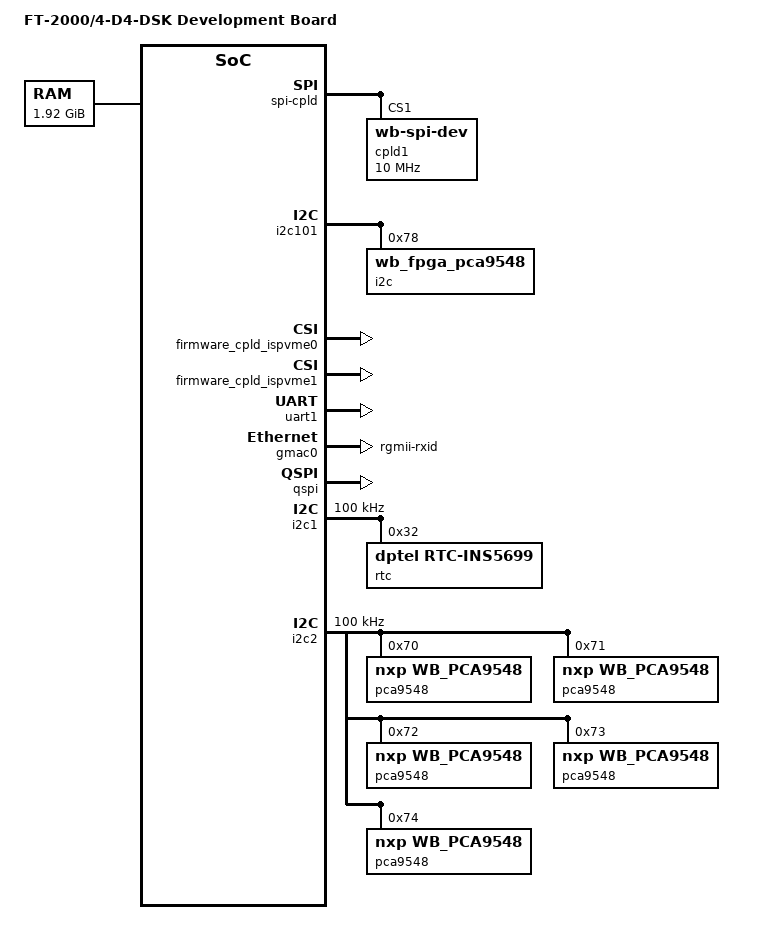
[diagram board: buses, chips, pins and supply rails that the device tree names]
// SPDX-License-Identifier: GPL-2.0
/*
 * DTS file for phytium FT-2000/4 devboard (FT-2000/4-D4-DSK series)
 *
 * Copyright (C) 2018-2019, Phytium Technology Co., Ltd.
 */

/dts-v1/;
/memreserve/ 0x80000000 0x10000;

#include <ft2004v2-generic-psci-soc.dtsi>

/{
    model = "FT-2000/4-D4-DSK Development Board";
    compatible = "phytium,ft2004c";
    #address-cells = <2>;
    #size-cells = <2>;

    chosen {
        stdout-path = "uart1:115200n8";
    };

    memory@00{
        device_type = "memory";
        reg = <0x0 0x80000000 0x0 0x7b000000>;
    };

    soc {
        /* CPU板上的CPLD，通过LPC总线进行访问 */
        cpld0 {
            io_dev_name = "cpld0";
            compatible = "wb-io-dev";
            io_type = /bits/ 8 <0x1>;       /* 0:ioport, 1:iomen */
            io_base = <0x20000000>;
            io_len  = <0x0100>;
        };

        /* CPU板上的CPLD模拟的SPI控制器 */
        spi-cpld {
            compatible = "spi-cpld";
            reg = <0x0 0x20000000 0x0 0x100000>;
            #address-cells = <1>;
            #size-cells = <0>;

            /* CPLD模拟的SPI控制器下挂了3个CPLD，分别为主CPLD、从CPLD、风扇板CPLD，3个CPLD只使用了一个片选，
             * CPLD通过地址来进行区分。作为SPI设备，其在SPI master注册时会被创建出来 */
            cpld1:cpld1 {
                compatible = "wb-spi-dev";
                reg = <0x1>;                         /* 指定spi设备使用的片选信号。即spi->chip_select */
                spi-max-frequency = <10000000>;      /* 指定spi设备工作的最大频率。即spi->max_speed_hz */

                spi_dev_name      = "cpld1";         /* 生成的misc设备的名称 */
                data_bus_width    = <1>;             /* spi设备的数据位宽，单位B */
                addr_bus_width    = <2>;             /* spi设备的地址位宽，单位B。该设备采用cmd(1B) + addr(2B) + data(1-8B)的数据格式 */
                per_rd_len        = <1>;             /* 一次SPI数据传输，最大读取的数据长度。目前是由于spi控制器数据buf最大为8B，但cpld按1B读写，故这里只能配1 */
                per_wr_len        = <1>;             /* 一次SPI数据传输，最大写入的数据长度。目前是由于spi控制器数据buf最大为8B，但cpld按1B读写，故这里只能配1 */
                spi_len           = <0x10000>;
            };
        };

        /* 底板主CPLD上模拟I2C控制器, 映射RAM读写通道  该控制器内部9548下挂1个二级实体PCA9548 0x78 */
        cpld10 {
            compatible = "wb-indirect-dev";
            /* 1: i2c, 2: file, 3:pcie, 4:io, 5:spi, 8:atomic */
            logic_func_mode     = <5>;
            dev_name            = "cpld10";         /* created dev name */
            logic_dev_name      = "/dev/cpld1";     /* dependent dev name */
            data_bus_width      = <4>;              /* dev data_bus_width */
            addr_bus_width      = <1>;              /* dev addr_bus_width */
            wr_data             = <0x2080>;         /* dependent dev wr date reg */
            wr_data_width       = <4>;              /* dependent dev wr_data_width */
            addr_low            = <0x2084>;         /* dependent dev w/r addr reg low */
            addr_high           = <0x2085>;         /* dependent dev w/r addr reg high */
            rd_data             = <0x2086>;         /* dependent dev rd date reg */
            rd_data_width       = <4>;              /* dependent dev rd_data_width */
            opt_ctl             = <0x208a>;
            indirect_len        = <0x200>;
            lock_mode           = <2>;
        };

        i2c101: second-cpld-i2c0 {
            #address-cells = <1>;
            #size-cells = <0>;
            compatible = "wb-fpga-i2c";
            i2c_timeout             = <3000>;
            i2c_scale               = <0x00>;
            i2c_filter              = <0x04>;
            i2c_stretch             = <0x08>;
            i2c_slave               = <0x1c>;
            i2c_reg                 = <0x20>;
            i2c_reg_len             = <0x30>;
            i2c_data_len            = <0x34>;
            i2c_ctrl                = <0x38>;
            i2c_status              = <0x3c>;
            i2c_data_buf            = <0x100>;
            i2c_data_buf_len        = <256>;
            dev_name                = "/dev/cpld10";
            i2c_scale_value         = <0x4e>;
            i2c_filter_value        = <0x7c>;
            i2c_stretch_value       = <0x7c>;
            i2c_func_mode           = <2>;          /* 1:i2c, 2:file 3:spi */
            i2c_adap_reset_flag     = <1>;          /* 1:复位, 0:不复位 */
            i2c_reset_addr          = <0x7c>;
            i2c_reset_on            = <0x00000001>;
            i2c_reset_off           = <0x00000000>;
            i2c_reset_mask          = <0x00000001>;
            i2c_rst_delay_b         = <0>;          /* delay time before reset(us) */
            i2c_rst_delay           = <1>;          /* reset time(us) */
            i2c_rst_delay_a         = <1>;          /* delay time after reset(us) */
            i2c_ext_9548_exits_flag = <0x0c>;
            i2c_ext_9548_addr       = <0x10>;
            i2c_ext_9548_chan       = <0x14>;
            i2c_in_9548_chan        = <0x18>;

            /* 控制器内部9548 BUS 66-73, 风扇板1-4的EEPROM */
            i2c@78 {
                #address-cells = <1>;
                #size-cells = <0>;
                compatible = "wb_fpga_pca9548";
                reg = <0x78>;
                pca9548_base_nr          = <66>;
                fpga_9548_flag           = <1>;  /* 1:内部9548, 2:外部9548 */
                fpga_9548_reset_flag     = <0>;  /* 1:复位, 0:不复位*/
            };
        };

        /* 用于固件升级前，初始化GPIO的到一个默认的状态，以防止GPIO模拟的JTAG信号抖动，出现不可预知的问题 */
        gpio_init {
            compatible  = "gpio_init";
            gpioport@0 {                            /* 该设备节点包含的gpio信息，具体表示方式如下 */
                gpio            = <491>;             /* GPIO的编号 */
                init_direction  = <0>;              /* GPIO的配置方向。0：输出；1：输入 */
                init_level      = <1>;	            /* GPIO的输出电平。0：输出低电平；1：输出高电平 */
            };
            gpioport@1 {                            /* 该设备节点包含的gpio信息，具体表示方式如下 */
                gpio            = <494>;                     /* GPIO的编号 */
                init_direction  = <0>;              /* GPIO的配置方向。0：输出；1：输入 */
                init_level      = <0>;              /* GPIO的输出电平。0：输出低电平；1：输出高电平 */
            };
            gpioport@2 {                            /* 该设备节点包含的gpio信息，具体表示方式如下 */
                gpio            = <493>;              /* GPIO的编号 */
                init_direction  = <0>;              /* GPIO的配置方向。0：输出；1：输入 */
                init_level      = <1>;              /* GPIO的输出电平。0：输出低电平；1：输出高电平 */
            };
            gpioport@3 {                            /* 该设备节点包含的gpio信息，具体表示方式如下 */
                gpio            = <492>;             /* GPIO的编号 */
                init_direction  = <1>;              /* GPIO的配置方向。0：输出；1：输入 */
                init_level      = <0>;              /* GPIO的输出电平。0：输出低电平；1：输出高电平 */
            };
            gpioport@4 {                            /* 该设备节点包含的gpio信息，具体表示方式如下 */
                gpio            = <490>;             /* GPIO的编号 */
                init_direction  = <0>;              /* GPIO的配置方向。0：输出；1：输入 */
                init_level      = <0>;              /* GPIO的输出电平。0：输出低电平；1：输出高电平 */
            };
            gpioport@5 {                            /* 该设备节点包含的gpio信息，具体表示方式如下 */
                gpio            = <489>;             /* GPIO的编号 */
                init_direction  = <0>;              /* GPIO的配置方向。0：输出；1：输入 */
                init_level      = <1>;              /* GPIO的输出电平。0：输出低电平；1：输出高电平 */
            };
        };

        /* 用于固件升级CPU板上的CPLD */
        firmware_cpld_ispvme0 {
            compatible  = "firmware_cpld_ispvme";
            type        = "JTAG";
            tdi         = <491>;
            tck         = <494>;
            tms         = <493>;
            tdo         = <492>;
            chain       = <1>;
            chip_index  = <1>;
            en_gpio_0   = <490>;     /* ONLINE_JTAG_EN  GPIO1_B2  使能在线升级，需要配置为低电平0 */
            en_level_0  = <0>;      /* 默认配置为0，为0可不配 */
            en_gpio_1   = <489>;     /* JTAG_SEL_1  GPIO1_B1  选择升级哪条链路的CPLD：低电平0 -- 选择升级CPU板的CPLD, 高电平1 -- 选择升级底板的CPLD */
            en_level_1  = <0>;      /* 默认配置为0，为0可不配 */

            /* JTAG_EN enable/disable */
            en_logic_dev_0     = "/dev/cpld0";   /* 通过什么设备文件，来配置链路使能 */
            en_logic_addr_0    = <0xe8>;         /* 链路使能的寄存器地址 */
            en_logic_mask_0    = <0xfe>;         /* 寄存器值的掩码 */
            en_logic_en_val_0  = <0x01>;         /* 链路使能时，寄存器的配置值 */
            en_logic_dis_val_0 = <0x00>;         /* 链路失能时，寄存器的配置值 */
            en_logic_width_0   = <0x01>;         /* 逻辑设备的位宽： 1 --- 8bit、2 --- 16bit、4 --- 32bit */
        };

        /* 用于固件升级底板上的主从CPLD，即基地址分别为0x2000、0x4000的CPLD */
        firmware_cpld_ispvme1 {
            compatible  = "firmware_cpld_ispvme";
            type        = "JTAG";
            tdi         = <491>;
            tck         = <494>;
            tms         = <493>;
            tdo         = <492>;
            chain       = <2>;
            chip_index  = <1>;
            en_gpio_0   = <490>;
            en_level_0  = <0>;
            en_gpio_1   = <489>;
            en_level_1  = <1>;

            /* JTAG_EN enable/disable */
            en_logic_dev_0     = "/dev/cpld0";   /* 通过什么设备文件，来配置链路使能 */
            en_logic_addr_0    = <0xe8>;         /* 链路使能的寄存器地址 */
            en_logic_mask_0    = <0xfe>;         /* 寄存器值的掩码 */
            en_logic_en_val_0  = <0x01>;         /* 链路使能时，寄存器的配置值 */
            en_logic_dis_val_0 = <0x00>;         /* 链路失能时，寄存器的配置值 */
            en_logic_width_0   = <0x01>;         /* 逻辑设备的位宽： 1 --- 8bit、2 --- 16bit、4 --- 32bit */
        };

        /* 用于升级U-BOOT */
        firmware_sysfs0 {
            compatible  = "firmware_sysfs";
            type        = "MTD_DEV";
            chain       = <1>;
            chip_index  = <1>;
            mtd_name    = "mtd0";  /* mtd设备的名称 */  
            flash_base  = <0>;       /* flash基地址，固件将更新到这个位置，固件占据的空间大小为固件文件的大小（按flash块对齐） */
        };
        
        wdt {
            compatible = "wb_wdt";
            config_dev_name = "/dev/cpld1";
            feed_dev_name = "/dev/cpld1";
            hw_algo = "eigenvalues";
            config_mode = /bits/ 8 <2>;     /* logic feed wdt mode */
            priv_func_mode = /bits/ 8 <8>; /* spi atomic mode */
            logic_func_mode = /bits/ 8 <8>; /* spi atomic mode */
            feed_reg = <0x20ca>;
            active_val = /bits/ 8 <0x01>;
            enable_val = /bits/ 8 <0x01>;
            disable_val = /bits/ 8 <0x01>;  /* 不希望在卸载的时候，关闭 */
            enable_mask = /bits/ 8 <0xff>;
            enable_reg = <0x20c8>;
            /* 设置到超时寄存器的值是 hw_margin_ms / timer_accuracy */
            timeout_cfg_reg = <0x20c9>;     /* 超时时间寄存器 */
            hw_margin_ms = <5000>;          /* 超时时间 5000ms */
            timer_accuracy = <1000>;        /* 精度:秒 */
            feed_wdt_type = /bits/ 8 <1>;   /* hrtime type */
            feed_time = <500>;              /* ms */
        };

        /* 新增1个DTS节点，用来配置PHY的LED寄存器，用于mgmt点灯 */
        yt8531s-phy-led@0 {
            led0_cfg = <0x0670>;            /* LED0_CFG寄存器的值 */
            led1_cfg = <0x0670>;            /* LED1_CFG寄存器的值 */
            led2_cfg = <0x0070>;            /* LED2_CFG寄存器的值 */
        };
    };

    aliases {
        i2c0 = &i2c1;
        i2c1 = &i2c2;
        i2c111 = &i2c101;
    };
};

&gpio0 {
    status = "ok";
};

&gpio1 {
    status = "ok";
};

&uart1 {
    status = "ok";
};

&gmac0 {
    status = "ok";
    phy-mode = "rgmii-rxid";
};

&qspi {
    status = "ok";
};

&i2c1 {
    clock-frequency = <100000>;
    
    /* sda保持时间配置，保证I2C外设不会因为SDA的保持时间不够而报I2C TX abort：lost arbitrary的错误 */
    i2c-sda-hold-time-ns = <100>;

    /* 只有status = "ok" or "okay"的I2C设备节点才会被创建出平台设备 */
    status = "ok";
    
    #address-cells = <1>;
    #size-cells = <0>;

    rtc@32 {
        compatible = "dptel,rtc-ins5699";
        reg = <0x32>;
    };
};

&i2c2 {
    clock-frequency = <100000>;
    
    /* sda保持时间配置，保证I2C外设不会因为SDA的保持时间不够而报I2C TX abort：lost arbitrary的错误 */
    i2c-sda-hold-time-ns = <100>;
    
    status = "ok";
    
    #address-cells = <1>;
    #size-cells = <0>;
    
    /************** 主CPLD上模拟的PCA9548, PCA9548复位通过主CPLD内部寄存器进行控制 **************/
    pca9548@70 {
        /* 通过id_table和驱动匹配 */
        compatible = "nxp,wb_pca9548";
        
        /* 用来指定pca9548的i2c从地址 */
        reg = <0x70>;
        
        /* 用来指明其从设备reg的属性只有一个addr单元 */
        #address-cells = <1>;
        #size-cells = <0>;
        pca9548_base_nr = <26>;
        probe_disable;                      /* 启动过程中，不做smbus读写，直接创建出I2C设备 */

        select_chan_check;                  /* 开启9548通道时，检查是否打开通道成功，如果失败，会进行PCA9548复位 */
        
        pca9548_reset_type = <4>;           /* 1:I2C  2:GPIO  3:IO  4:FILE */
        /* 复位前 + 复位过程 + 复位后 的延迟时间，单位us */
        rst_delay_b = <1>;
        rst_delay   = <2>;                   /* S6231 CPLD模拟的PCA9548复位时间间隔约为120ns，故这里设备为2us */
        rst_delay_a = <1>;
        dev_name  = "/dev/cpld1";            /* 复位时，要操作的设备文件 */
        offset    = <0x2019>;                /* 复位时，要操作的寄存器地址 */
        mask      = <0xff>;                  /* 掩码，要操作哪个bit，就把哪个bit置1 */
        reset_on  = <0xa4>;                  /* 低电平复位时，则填0；否则和mask一致 */
        reset_off = <0xa5>;                  /* 低电平复位时，和mask一致，否则填0 */
    };
    
    pca9548@71 {
        compatible = "nxp,wb_pca9548";
        reg = <0x71>;
        #address-cells = <1>;
        #size-cells = <0>;
        pca9548_base_nr = <34>;
        probe_disable;                      /* 启动过程中，不做smbus读写，直接创建出I2C设备 */

        select_chan_check;                  /* 开启9548通道时，检查是否打开通道成功，如果失败，会进行PCA9548复位 */
        
        pca9548_reset_type = <4>;           /* 1:I2C  2:GPIO  3:IO  4:FILE */
        rst_delay_b = <1>;
        rst_delay   = <2>;
        rst_delay_a = <1>;

        dev_name  = "/dev/cpld1";            /* 复位时，要操作的设备文件 */
        offset    = <0x201a>;                /* 复位时，要操作的寄存器地址 */
        mask      = <0xff>;                  /* 掩码，要操作哪个bit，就把哪个bit置1 */
        reset_on  = <0xa4>;
        reset_off = <0xa5>;
    };
    
    pca9548@72 {
        compatible = "nxp,wb_pca9548";
        reg = <0x72>;
        #address-cells = <1>;
        #size-cells = <0>;
        pca9548_base_nr = <42>;
        probe_disable;                      /* 启动过程中，不做smbus读写，直接创建出I2C设备 */

        select_chan_check;                  /* 开启9548通道时，检查是否打开通道成功，如果失败，会进行PCA9548复位 */
        
        pca9548_reset_type = <4>;           /* 1:I2C  2:GPIO  3:IO  4:FILE */
        rst_delay_b = <1>;
        rst_delay   = <2>;
        rst_delay_a = <1>;

        dev_name  = "/dev/cpld1";            /* 复位时，要操作的设备文件 */
        offset    = <0x201b>;                /* 复位时，要操作的寄存器地址 */
        mask      = <0xff>;                  /* 掩码，要操作哪个bit，就把哪个bit置1 */
        reset_on  = <0xa4>;
        reset_off = <0xa5>;
    };
    
    pca9548@73 {
        compatible = "nxp,wb_pca9548";
        reg = <0x73>;
        #address-cells = <1>;
        #size-cells = <0>;
        pca9548_base_nr = <50>;
        probe_disable;                      /* 启动过程中，不做smbus读写，直接创建出I2C设备 */

        select_chan_check;                  /* 开启9548通道时，检查是否打开通道成功，如果失败，会进行PCA9548复位 */
        
        pca9548_reset_type = <4>;           /* 1:I2C  2:GPIO  3:IO  4:FILE */
        rst_delay_b = <1>;
        rst_delay   = <2>;
        rst_delay_a = <1>;

        dev_name  = "/dev/cpld1";            /* 复位时，要操作的设备文件 */
        offset    = <0x201c>;                /* 复位时，要操作的寄存器地址 */
        mask      = <0xff>;                  /* 掩码，要操作哪个bit，就把哪个bit置1 */
        reset_on  = <0xa4>;
        reset_off = <0xa5>;
        mux-2@2{
            #address-cells = <1>;
            #size-cells = <0>;
            reg = <2>;
        };
    };
    
    /************** 从CPLD上模拟的PCA9548 **************/
    pca9548@74 {
        compatible = "nxp,wb_pca9548";
        reg = <0x74>;
        #address-cells = <1>;
        #size-cells = <0>;
        pca9548_base_nr = <58>;
        probe_disable;                      /* 启动过程中，不做smbus读写，直接创建出I2C设备 */

        select_chan_check;                  /* 开启9548通道时，检查是否打开通道成功，如果失败，会进行PCA9548复位 */
        
        pca9548_reset_type = <4>;           /* 1:I2C  2:GPIO  3:IO  4:FILE */
        rst_delay_b = <1>;
        rst_delay   = <2>;
        rst_delay_a = <1>;

        dev_name  = "/dev/cpld1";            /* 复位时，要操作的设备文件 */
        offset    = <0x201d>;                /* 复位时，要操作的寄存器地址 */
        mask      = <0xff>;                  /* 掩码，要操作哪个bit，就把哪个bit置1 */
        reset_on  = <0xa4>;
        reset_off = <0xa5>;
    };
};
